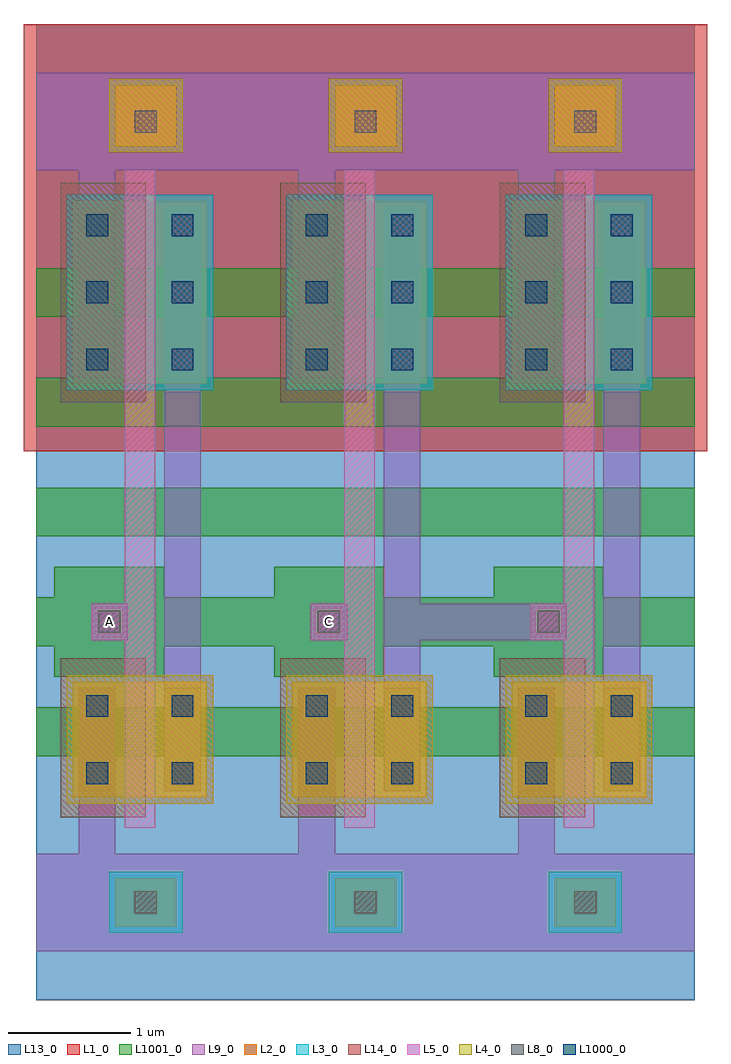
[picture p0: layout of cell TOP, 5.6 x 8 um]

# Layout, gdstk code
import gdstk
lib = gdstk.Library(unit=1e-6, precision=1e-09)
def R(c, l, rs):  # rectangles x0, y0, x1, y1
    for r in rs: c.add(gdstk.rectangle(r[:2], r[2:], *l))
def A(c, l, x, y, w, h, nx, ny, dx, dy):  # array of equal rectangles
    R(c, l, [(x+i*dx, y+j*dy, x+i*dx+w, y+j*dy+h) for i in range(nx) for j in range(ny)])
L1_0 = (1, 0)
L2_0 = (2, 0)
L3_0 = (3, 0)
L4_0 = (4, 0)
L5_0 = (5, 0)
L8_0 = (8, 0)
L9_0 = (9, 0)
L13_0 = (13, 0)
L14_0 = (14, 0)
L1000_0 = (1000, 0)
L1001_0 = (1001, 0)

polym1 = lib.new_cell('POLYM1')
R(polym1, L5_0, [(-0.15,-0.15,0.15,0.15)])
R(polym1, L8_0, [(-0.09,-0.09,0.09,0.09)])
R(polym1, L9_0, [(-0.15,-0.15,0.15,0.15)])
R(polym1, L1001_0, [(-0.45,-0.45,0.45,0.45)])

nmos2 = lib.new_cell('NMOS2')
R(nmos2, L2_0, [(0,0,1.1,0.95)])
R(nmos2, L4_0, [(-0.05,-0.05,1.15,1)])
R(nmos2, L5_0, [(0.425,-0.25,0.675,1.2)])
R(nmos2, L1000_0, [(0.11,0.11,0.29,0.29), (0.81,0.11,0.99,0.29), (0.11,0.66,0.29,0.84), (0.81,0.66,0.99,0.84)])
R(nmos2, L1001_0, [(0.05,0.05,0.35,0.9), (0.75,0.05,1.05,0.9)])

pmos3 = lib.new_cell('PMOS3')
R(pmos3, L2_0, [(0,0,1.1,1.5), (0,0,1.1,1.5)])
R(pmos3, L3_0, [(-0.05,-0.05,1.15,1.55)])
R(pmos3, L5_0, [(0.425,-0.25,0.675,1.75), (0.425,-0.25,0.675,1.75)])
A(pmos3, L1000_0, 0.11, 0.11, 0.18, 0.18, 1, 3, 0, 0.55)
A(pmos3, L1000_0, 0.81, 0.11, 0.18, 0.18, 1, 3, 0, 0.55)
R(pmos3, L1001_0, [(0.05,0.05,0.35,1.45), (0.75,0.05,1.05,1.45)])

invx1 = lib.new_cell('INVX1')
R(invx1, L1_0, [(-0.1,4.5,1.9,8)])
R(invx1, L2_0, [(0.65,0.6,1.15,1), (0.65,7,1.15,7.5)])
R(invx1, L3_0, [(0.6,0.55,1.2,1.05)])
R(invx1, L4_0, [(0.6,6.95,1.2,7.55)])
R(invx1, L5_0, [(0.725,2.86,0.975,4.8)])
A(invx1, L8_0, 0.41, 5.16, 0.18, 0.18, 1, 3, 0, 0.55)
A(invx1, L8_0, 1.11, 5.16, 0.18, 0.18, 1, 3, 0, 0.55)
R(invx1, L8_0, [(0.81,0.71,0.99,0.89), (0.41,1.77,0.59,1.95), (1.11,1.77,1.29,1.95), (0.41,2.32,0.59,2.5), (1.11,2.32,1.29,2.5), (0.81,7.11,0.99,7.29)])
R(invx1, L9_0, [(0,0.4,1.8,1.2), (0.75,0.65,1.05,0.95), (0.35,1.2,0.65,2.56), (1.05,1.71,1.35,6.5), (0.35,5.1,0.65,6.5), (0.35,6.5,0.65,6.8), (0,6.8,1.8,7.6), (0.75,7.05,1.05,7.35)])
R(invx1, L13_0, [(0,0,1.8,8)])
R(invx1, L14_0, [(0.2,1.5,0.9,2.8), (0.2,4.9,0.9,6.7)])
invx1.add(gdstk.FlexPath([(0,2.2),(1.8,2.2)], 0.4, ends="flush", simple_path=True, layer=1001, datatype=0))  # L1001_0
invx1.add(gdstk.FlexPath([(0,3.1),(1.8,3.1)], 0.4, ends="flush", simple_path=True, layer=1001, datatype=0))  # L1001_0
invx1.add(gdstk.FlexPath([(0,4),(1.8,4)], 0.4, ends="flush", simple_path=True, layer=1001, datatype=0))  # L1001_0
invx1.add(gdstk.FlexPath([(0,4.9),(1.8,4.9)], 0.4, ends="flush", simple_path=True, layer=1001, datatype=0))  # L1001_0
invx1.add(gdstk.FlexPath([(0,5.8),(1.8,5.8)], 0.4, ends="flush", simple_path=True, layer=1001, datatype=0))  # L1001_0
invx1.add(gdstk.Reference(polym1, (0.6,3.1)))
invx1.add(gdstk.Reference(nmos2, (0.3,1.66)))
invx1.add(gdstk.Reference(pmos3, (0.3,5.05)))
invx1.add(gdstk.Label('VDD', (0.95,7.3), layer=9, texttype=0))
invx1.add(gdstk.Label('VSS', (0.95,0.8), layer=9, texttype=0))
invx1.add(gdstk.Label('IN', (0.6,3.1), layer=9, texttype=0))
invx1.add(gdstk.Label('OUT', (1.2,4), layer=9, texttype=0))

dinv = lib.new_cell('DINV')
dinv.add(gdstk.Reference(invx1, (0,0)))
dinv.add(gdstk.Reference(invx1, (1.8,0)))
dinv.add(gdstk.Label('VSS', (1.8,0.8), layer=9, texttype=0))
dinv.add(gdstk.Label('A<1>', (0.6,3.1), layer=9, texttype=0))
dinv.add(gdstk.Label('A<2>', (2.4,3.1), layer=9, texttype=0))
dinv.add(gdstk.Label('B<2>', (3,4), layer=9, texttype=0))
dinv.add(gdstk.Label('B<1>', (1.2,4), layer=9, texttype=0))
dinv.add(gdstk.Label('VDD', (1.8,7.2), layer=9, texttype=0))

top = lib.new_cell('TOP')
R(top, L9_0, [(3.1,2.95,4.05,3.25)])
top.add(gdstk.Reference(dinv, (0,0)))
top.add(gdstk.Reference(invx1, (3.6,0)))
top.add(gdstk.Label('A', (0.6,3.1), layer=9, texttype=0))
top.add(gdstk.Label('C', (2.4,3.1), layer=9, texttype=0))

lib.write_gds('TOP.gds')
